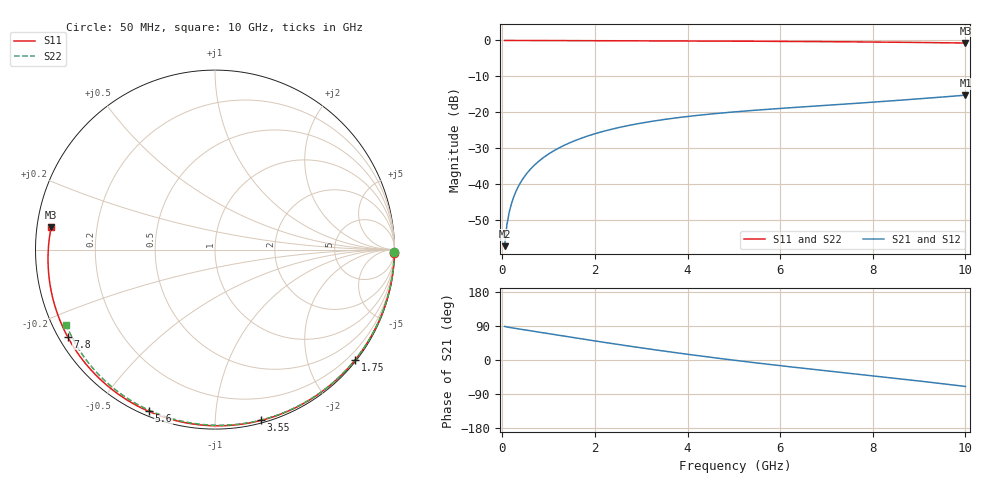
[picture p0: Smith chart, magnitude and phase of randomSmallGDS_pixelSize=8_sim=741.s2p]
! freq	dB(S11)	phase(S11)	dB(S12)	phase(S12)
!  dB(S21)	phase(S21)	dB(S22)	phase(S22)
!S-par simulation data
#  GHz  S  DB  R 50
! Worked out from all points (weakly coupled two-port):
!   200 points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, 50 MHz to 10 GHz, reference 50 ohm
!   highest |S21| = -15.22 dB at 10 GHz (marker M1); lowest = -57.2 dB at 50 MHz (marker M2)
!   lowest |S11| = -0.7 dB at 10 GHz (marker M3), VSWR 24.42, Z = 2.06 + j3.39 ohm
!   |S11| at or under -10 dB: nowhere
!   |S22| runs from -0.6 to 0.0 dB; largest |S21 - S12| = 0
!   S11 on the Smith chart (normalised r, x): 50 MHz: open; 1.75 GHz: 0.03, -2.88; 3.55 GHz: 0.02, -1.31; 5.6 GHz: 0.02, -0.67; 7.8 GHz: 0.03, -0.27; 10 GHz: 0.04, +0.07
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0.05  -0.00 -1.1  -57.18 88.5  -57.18 88.5  -0.00 -0.9
0.1  -0.00 -2.2  -51.20 87.2  -51.20 87.2  -0.00 -1.8
0.15  -0.00 -3.4  -47.73 86.0  -47.73 86.0  -0.00 -2.7
0.2  -0.00 -4.5  -45.27 85.0  -45.27 85.0  -0.00 -3.6
0.25  -0.00 -5.6  -43.37 84.0  -43.37 84.0  -0.00 -4.6
0.35  -0.01 -7.8  -40.50 82.1  -40.50 82.1  -0.01 -6.4
0.5  -0.01 -11.2  -37.45 79.3  -37.45 79.3  -0.01 -9.1
0.7  -0.02 -15.6  -34.58 75.4  -34.58 75.4  -0.02 -12.7
1  -0.03 -22.2  -31.56 69.6  -31.56 69.6  -0.02 -18.1
1.35  -0.04 -29.8  -29.07 62.7  -29.07 62.7  -0.04 -24.3
1.75  -0.06 -38.3  -26.97 55.1  -26.97 55.1  -0.05 -31.3
2.6  -0.09 -56.0  -23.97 39.2  -23.97 39.2  -0.08 -45.9
3.4  -0.12 -71.9  -22.14 25.1  -22.14 25.1  -0.10 -59.2
3.55  -0.13 -74.9  -21.87 22.6  -21.87 22.6  -0.11 -61.6
4.3  -0.16 -89.0  -20.71 10.3  -20.71 10.3  -0.14 -73.5
5.05  -0.20 -102.6  -19.81 -1.3  -19.81 -1.3  -0.17 -85.0
5.6  -0.23 -112.3  -19.26 -9.3  -19.26 -9.3  -0.20 -93.1
6.7  -0.31 -131.0  -18.28 -24.5  -18.28 -24.5  -0.27 -108.7
7.8  -0.41 -149.5  -17.33 -39.2  -17.33 -39.2  -0.36 -123.8
8.35  -0.47 -158.7  -16.83 -46.5  -16.83 -46.5  -0.42 -131.2
9.2  -0.58 -173.4  -16.02 -58.2  -16.02 -58.2  -0.52 -142.5
10  -0.71 172.2  -15.22 -69.8  -15.22 -69.8  -0.65 -153.2
